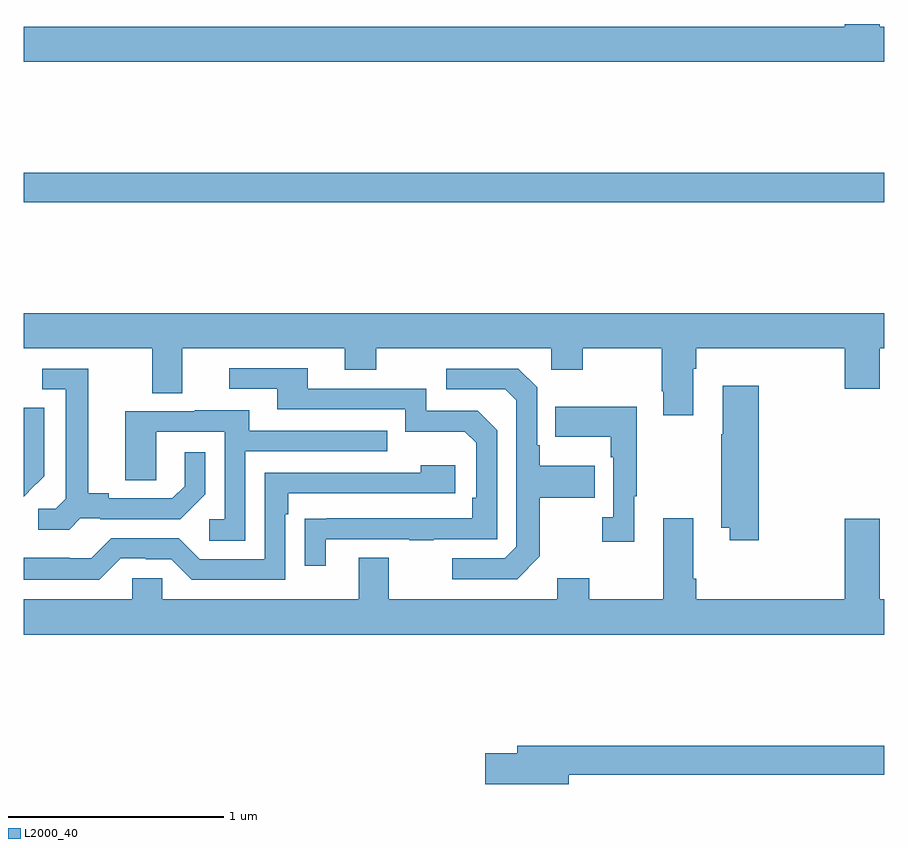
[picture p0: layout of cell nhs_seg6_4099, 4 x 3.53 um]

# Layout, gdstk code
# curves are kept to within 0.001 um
import gdstk
lib = gdstk.Library(unit=1e-6, precision=1e-09)
def R(c, l, rs):  # rectangles x0, y0, x1, y1
    for r in rs: c.add(gdstk.rectangle(r[:2], r[2:], *l))
def P(c, l, *ps):  # polygons
    for p in ps: c.add(gdstk.Polygon(p, *l))
L2000_40 = (2000, 40)

nhs_seg6_4099 = lib.new_cell('nhs_seg6_4099')
R(nhs_seg6_4099, L2000_40, [(353,958.672,357,958.808)])
P(nhs_seg6_4099, L2000_40, [(357,959.488),(356.98,959.488),(356.98,959.5),(356.816,959.5),(356.816,959.488),(353,959.488),(353,959.324),(357,959.324)],
  [(356.113,957.896),(356.126,957.896),(356.126,957.992),(356.816,957.992),(356.816,957.804),(356.98,957.804),(356.98,957.992),(357,957.992),(357,958.156),(353,958.156),(353,957.992),(353.597,957.992),(353.597,957.784),(353.737,957.784),(353.737,957.992),(354.491,957.992),(354.491,957.893),(354.639,957.893),(354.639,957.992),(355.452,957.992),(355.452,957.893),(355.599,957.893),(355.599,957.992),(355.966,957.992),(355.966,957.793),(355.973,957.793),(355.973,957.681),(356.113,957.681)],
  [(354.403,957.105),(354.793,957.105),(354.793,957.1),(354.905,957.1),(354.905,957.105),(355.2,957.105),(355.2,957.612),(355.11,957.702),(354.87,957.702),(354.87,957.804),(354.319,957.804),(354.319,957.9),(353.955,957.9),(353.955,957.804),(354.179,957.804),(354.179,957.708),(354.774,957.708),(354.774,957.605),(355.051,957.605),(355.104,957.552),(355.104,957.298),(355.084,957.298),(355.084,957.201),(354.307,957.2),(354.307,956.982),(354.403,956.982)],
  [(355.399,957.025),(355.399,957.298),(355.655,957.298),(355.655,957.445),(355.399,957.445),(355.399,957.541),(355.386,957.541),(355.386,957.81),(355.299,957.897),(354.963,957.897),(354.963,957.801),(355.239,957.801),(355.29,957.75),(355.29,957.069),(355.236,957.015),(354.993,957.015),(354.993,956.919),(355.293,956.919)],
  [(353.262,957.201),(353.356,957.201),(353.356,957.198),(353.728,957.198),(353.844,957.314),(353.844,957.508),(353.747,957.508),(353.747,957.351),(353.69,957.294),(353.395,957.294),(353.395,957.317),(353.299,957.317),(353.299,957.897),(353.085,957.897),(353.085,957.801),(353.195,957.801),(353.195,957.293),(353.148,957.246),(353.067,957.246),(353.067,957.149),(353.21,957.149)],
  [(356.417,957.817),(356.249,957.817),(356.249,957.593),(356.242,957.593),(356.242,957.158),(356.282,957.158),(356.282,957.099),(356.417,957.099)],
  [(355.837,957.305),(355.849,957.305),(355.849,957.721),(355.471,957.721),(355.471,957.581),(355.728,957.581),(355.728,957.485),(355.74,957.485),(355.74,957.206),(355.689,957.206),(355.689,957.093),(355.837,957.093)],
  [(353.022,957.324),(353.021,957.325),(353.094,957.398),(353.094,957.716),(353,957.716),(353,957.302)],
  [(354.03,957.513),(354.689,957.513),(354.689,957.609),(354.049,957.609),(354.049,957.703),(353.795,957.703),(353.795,957.699),(353.471,957.699),(353.471,957.379),(353.616,957.379),(353.616,957.603),(353.934,957.603),(353.934,957.198),(353.862,957.198),(353.862,957.097),(354.03,957.097)],
  [(353.451,957.015),(353.567,957.015),(353.567,957.012),(353.685,957.012),(353.781,956.916),(354.216,956.916),(354.216,957.221),(354.229,957.221),(354.229,957.318),(355.006,957.318),(355.006,957.448),(354.845,957.448),(354.845,957.414),(354.12,957.414),(354.12,957.012),(353.817,957.012),(353.721,957.108),(353.406,957.108),(353.313,957.015),(353.213,957.015),(353.213,957.019),(353,957.019),(353,956.915),(353.351,956.915)],
  [(357,956.824),(356.98,956.824),(356.98,957.199),(356.816,957.199),(356.816,956.824),(356.126,956.824),(356.126,956.92),(356.113,956.92),(356.113,957.202),(355.973,957.202),(355.973,956.824),(355.629,956.824),(355.629,956.923),(355.481,956.923),(355.481,956.824),(354.697,956.824),(354.697,957.019),(354.557,957.019),(354.557,956.824),(353.643,956.824),(353.643,956.922),(353.505,956.922),(353.505,956.824),(353,956.824),(353,956.66),(357,956.66)],
  [(355.534,956.008),(357,956.008),(357,956.144),(355.295,956.144),(355.295,956.108),(355.146,956.108),(355.146,955.966),(355.534,955.966)])

lib.write_gds('nhs_seg6_4099.gds')
